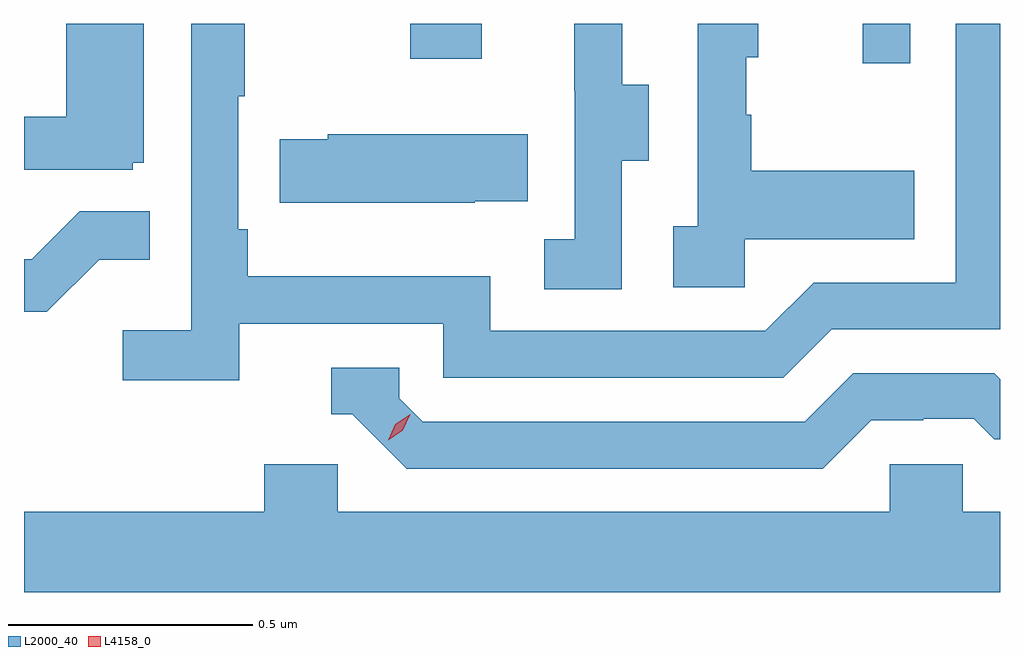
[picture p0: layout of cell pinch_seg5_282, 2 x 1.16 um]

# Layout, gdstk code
import gdstk
lib = gdstk.Library(unit=1e-6, precision=1e-09)
def R(c, l, rs):  # rectangles x0, y0, x1, y1
    for r in rs: c.add(gdstk.rectangle(r[:2], r[2:], *l))
def P(c, l, *ps):  # polygons
    for p in ps: c.add(gdstk.Polygon(p, *l))
L2000_40 = (2000, 40)
L4158_0 = (4158, 0)

pinch_seg5_282 = lib.new_cell('pinch_seg5_282')
R(pinch_seg5_282, L2000_40, [(912.008,909.792,912.105,909.872), (911.08,909.801,911.227,909.872)])
P(pinch_seg5_282, L2000_40, [(910.73,909.258),(911.148,909.258),(911.148,909.147),(911.845,909.147),(911.944,909.246),(912.289,909.246),(912.289,909.872),(912.198,909.872),(912.198,909.342),(911.907,909.342),(911.808,909.243),(911.244,909.243),(911.244,909.355),(910.748,909.355),(910.748,909.451),(910.728,909.451),(910.728,909.724),(910.741,909.724),(910.741,909.872),(910.632,909.872),(910.632,909.244),(910.491,909.244),(910.491,909.142),(910.73,909.142)],
  [(911.766,909.431),(912.113,909.431),(912.113,909.571),(911.779,909.571),(911.779,909.686),(911.769,909.686),(911.769,909.804),(911.794,909.804),(911.794,909.872),(911.67,909.872),(911.67,909.458),(911.619,909.458),(911.619,909.333),(911.766,909.333)],
  [(910.512,909.588),(910.534,909.588),(910.534,909.872),(910.376,909.872),(910.376,909.682),(910.289,909.682),(910.289,909.573),(910.512,909.573)],
  [(911.514,909.592),(911.569,909.592),(911.569,909.747),(911.515,909.747),(911.515,909.872),(911.417,909.872),(911.417,909.735),(911.418,909.735),(911.418,909.431),(911.355,909.431),(911.355,909.328),(911.514,909.328)],
  [(911.213,909.509),(911.321,909.509),(911.321,909.646),(910.911,909.646),(910.911,909.636),(910.813,909.636),(910.813,909.506),(911.213,909.506)],
  [(910.443,909.389),(910.547,909.389),(910.547,909.488),(910.403,909.488),(910.305,909.39),(910.289,909.39),(910.289,909.282),(910.336,909.282)],
  [(912.025,909.06),(912.132,909.06),(912.132,909.063),(912.235,909.063),(912.277,909.021),(912.289,909.021),(912.289,909.144),(912.277,909.156),(911.988,909.156),(911.889,909.057),(911.106,909.057),(911.058,909.105),(911.058,909.168),(910.919,909.168),(910.919,909.072),(910.962,909.072),(911.073,908.961),(911.926,908.961)],
  [(912.289,908.872),(912.213,908.872),(912.213,908.97),(912.063,908.97),(912.063,908.872),(910.932,908.872),(910.932,908.97),(910.781,908.97),(910.781,908.872),(910.289,908.872),(910.289,908.708),(912.289,908.708)])
P(pinch_seg5_282, L4158_0, [(911.035,909.019),(911.035,909.019),(911.05,909.052),(911.08,909.072),(911.08,909.072),(911.08,909.072),(911.065,909.039),(911.035,909.019)])

lib.write_gds('pinch_seg5_282.gds')
